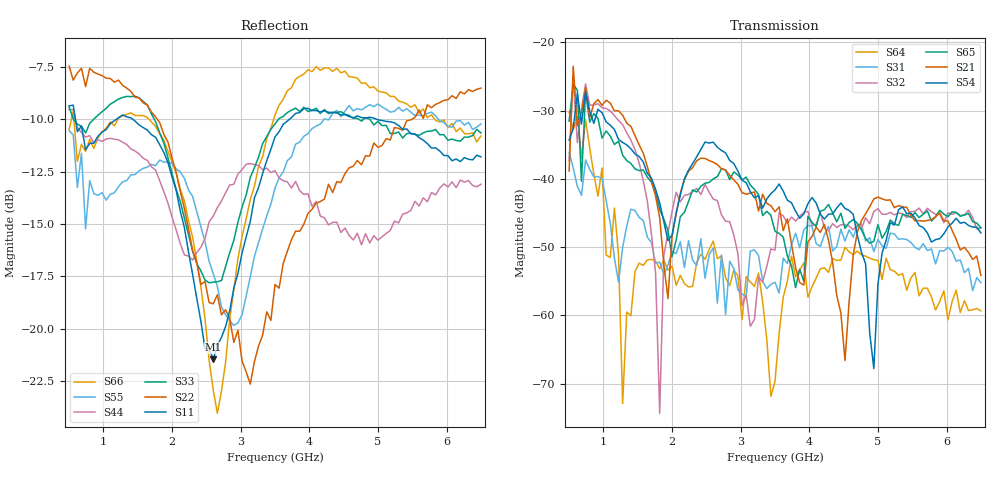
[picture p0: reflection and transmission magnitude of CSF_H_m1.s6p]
!Keysight Technologies,M9804A,MY58100912,A.14.10.03
!Date: Thursday, April 27, 2023 10:28:33
!Correction: S11(C  6-Port  )
!S12(C  6-Port  )
!S13(C  6-Port  )
!S14(C  6-Port  )
!S15(C  6-Port  )
!S16(C  6-Port  )
!S21(C  6-Port  )
!S22(C  6-Port  )
!S23(C  6-Port  )
!S24(C  6-Port  )
!S25(C  6-Port  )
!S26(C  6-Port  )
!S31(C  6-Port  )
!S32(C  6-Port  )
!S33(C  6-Port  )
!S34(C  6-Port  )
!S35(C  6-Port  )
!S36(C  6-Port  )
!S41(C  6-Port  )
!S42(C  6-Port  )
!S43(C  6-Port  )
!S44(C  6-Port  )
!S45(C  6-Port  )
!S46(C  6-Port  )
!S51(C  6-Port  )
!S52(C  6-Port  )
!S53(C  6-Port  )
!S54(C  6-Port  )
!S55(C  6-Port  )
!S56(C  6-Port  )
!S61(C  6-Port  )
!S62(C  6-Port  )
!S63(C  6-Port  )
!S64(C  6-Port  )
!S65(C  6-Port  )
!S66(C  6-Port  )
!S6P File: Measurement: :
# Hz S  RI  R 50
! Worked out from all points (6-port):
!   101 points, 500 MHz to 6.5 GHz, reference 50 ohm
!   strongest paths, dB at 500 MHz, 2 GHz, 3.5 GHz, 5 GHz, 6.5 GHz:
!     S54: -34.3, -48.2, -41.6, -55.4, -47.9
!     S21: -38.8, -48.4, -44.8, -42.7, -54.1
!     S65: -31.5, -51.4, -47.7, -46.7, -47.2
!     S32: -37.3, -44.8, -50.4, -44.4, -47.2
!     S31: -36.1, -50.6, -55.1, -48.9, -55.2
!     S64: -30.2, -52.8, -69.7, -51.9, -59.3
!   lowest |S11| = -21.5 dB at 2.6 GHz (marker M1), VSWR 1.18, Z = 42.5 + j2.18 ohm
!   |S11| at or under -10 dB: 591.8 MHz to 1.191 GHz (599.2 MHz wide, 67.2 % of centre); 1.426 GHz to 3.713 GHz (2.287 GHz wide, 89 % of centre); 4.978 GHz to end of sweep
